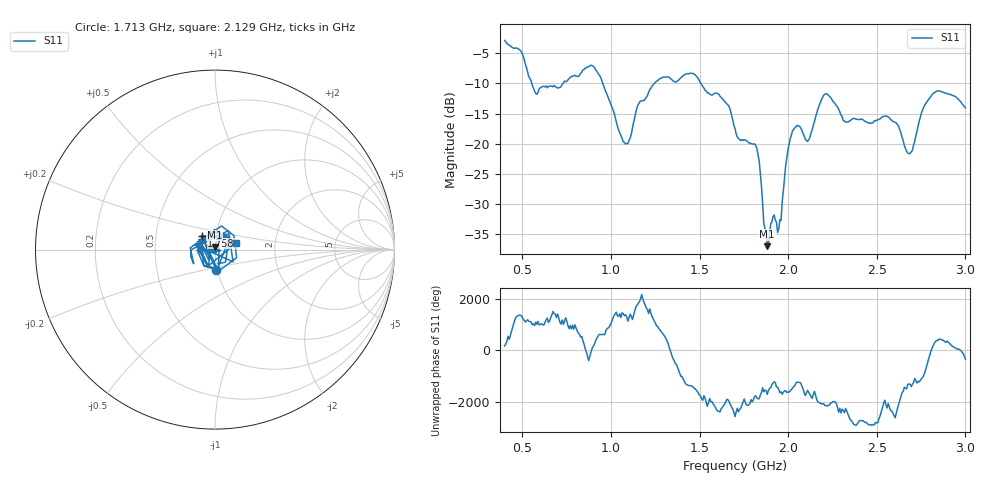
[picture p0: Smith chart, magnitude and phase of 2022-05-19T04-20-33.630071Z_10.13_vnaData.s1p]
!Created with skrf (http://scikit-rf.org).
# Hz S RI R 50.0
!freq ReS11 ImS11
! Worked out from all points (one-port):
!   401 points, 400 MHz to 3 GHz, reference 50 ohm
!   lowest |S11| = -37.0 dB at 1.882 GHz (marker M1), VSWR 1.03, Z = 49.9 + j1.41 ohm
!   |S11| at or under -10 dB: 553.6 MHz to 729.9 MHz (176.3 MHz wide, 27.5 % of centre); 954 MHz to 1.245 GHz (291.1 MHz wide, 26.5 % of centre); 1.508 GHz to end of sweep
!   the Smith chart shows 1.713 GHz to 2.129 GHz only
!   S11 on the Smith chart (normalised r, x): 1.713 GHz: 0.99, -0.23; 1.758 GHz: 0.85, +0.13; 2.129 GHz: 1.26, +0.09
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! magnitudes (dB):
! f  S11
! 400 MHz  -2.9
! 491 MHz  -4.6
! 575.5 MHz  -11.6
! 725 MHz  -10.1
! 900.5 MHz  -7.2
! 1.05 GHz  -18.2
! 1.095 GHz  -20.0
! 1.154 GHz  -13.5
! 1.258 GHz  -9.6
! 1.375 GHz  -9.6
! 1.472 GHz  -8.5
! 1.655 GHz  -13.4
! 1.7 GHz  -17.5
! 1.713 GHz  -18.9
! 1.758 GHz  -19.4
! 1.823 GHz  -20.8
! 1.882 GHz  -37.0
! 1.915 GHz  -32.1
! 1.954 GHz  -32.6
! 1.992 GHz  -22.2
! 2.025 GHz  -17.8
! 2.129 GHz  -18.2
! 2.213 GHz  -11.7
! 2.35 GHz  -16.2
! 2.558 GHz  -15.4
! 2.675 GHz  -21.5
! 2.825 GHz  -11.5
! 3 GHz  -14.1
